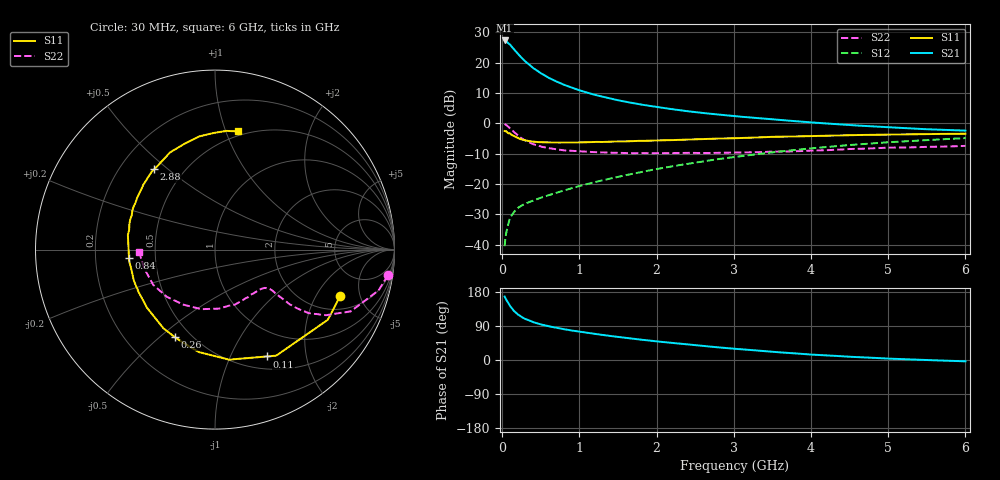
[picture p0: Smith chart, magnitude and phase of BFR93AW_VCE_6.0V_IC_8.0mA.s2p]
! Infineon Technologies  Discrete & RF Semiconductors
! BFR93AW
! VCE =  6.0 V,  IC =  8.0 mA
! Common Emitter S-Parameters:  Nov 2015
# GHz  S  MA  R  50
!  f  S11  S21  S12  S22
! GHz  MAG  ANG  MAG  ANG  MAG  ANG  MAG  ANG
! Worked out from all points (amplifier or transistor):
!   206 points, 30 MHz to 6 GHz, reference 50 ohm
!   highest |S21| = 27.3 dB at 30 MHz (marker M1)
!   |S21| within 3 dB of that: start of sweep to 154.2 MHz
!   unconditionally stable (mu >= 1): 807.2 MHz to 2.203 GHz
!   at 200 MHz: K = 0.42, MSG = 25.5 dB, |S12| = -28.0 dB
!   at 1.56 GHz: K = 1.07, MAG = 10.7 dB, |S12| = -17.3 dB
!   at 6 GHz: K = 0.90, MSG = 1.2 dB, |S12| = -4.9 dB
!   S11 on the Smith chart (normalised r, x): 30 MHz: 2.83, -3.27; 110 MHz: 0.65, -1.38; 260 MHz: 0.41, -0.56; 840 MHz: 0.35, -0.04; 2.88 GHz: 0.34, +0.45; 6 GHz: 0.46, +1.11
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0.03  0.7442 -20.3  23.14 167.5  0.0094 78.5  0.9734 -8.5
0.05  0.7401 -31.9  22.61 159.2  0.0153 75.3  0.9393 -14.0
0.1  0.6822 -60.0  19.79 142.3  0.0273 63.9  0.8306 -24.5
0.11  0.6616 -64.1  19.09 140.1  0.0286 62.2  0.8075 -25.6
0.15  0.6183 -82.7  16.61 129.5  0.0342 56.7  0.7184 -30.6
0.2  0.5778 -99.1  14.04 120.4  0.04 52.9  0.6314 -34.1
0.24  0.5456 -109.9  12.36 115.0  0.0431 51.3  0.5768 -35.3
0.26  0.5361 -114.8  11.63 112.4  0.0446 51.0  0.5538 -35.7
0.3  0.5243 -123.2  10.38 108.0  0.0475 51.3  0.5162 -36.2
0.4  0.4986 -139.3  8.111 99.9  0.0529 51.7  0.451 -36.0
0.5  0.4869 -150.7  6.663 93.8  0.0592 53.7  0.4113 -35.8
0.6  0.4843 -158.9  5.62 89.0  0.0649 55.4  0.3882 -35.5
0.7  0.4785 -166.3  4.882 85.0  0.0713 57.3  0.3719 -35.9
0.84  0.4815 -174.3  4.117 79.9  0.0806 60.0  0.3544 -37.1
1.04  0.4838 176.5  3.365 73.5  0.0951 62.5  0.3411 -39.5
1.5  0.5014 161.1  2.39 60.9  0.1305 65.9  0.3259 -48.2
2.02  0.5209 146.4  1.835 48.7  0.1771 66.1  0.3213 -60.9
2.88  0.5614 127.2  1.358 31.9  0.2643 62.2  0.3265 -83.5
3.1  0.5703 122.5  1.278 28.3  0.287 60.4  0.3296 -89.8
4.1  0.6179 104.2  1.011 13.3  0.3954 50.6  0.3559 -123.2
5.1  0.6517 89.6  0.845 3.0  0.4938 38.6  0.3966 -153.3
6  0.6711 78.8  0.755 -3.5  0.5691 28.0  0.4232 -178.1
